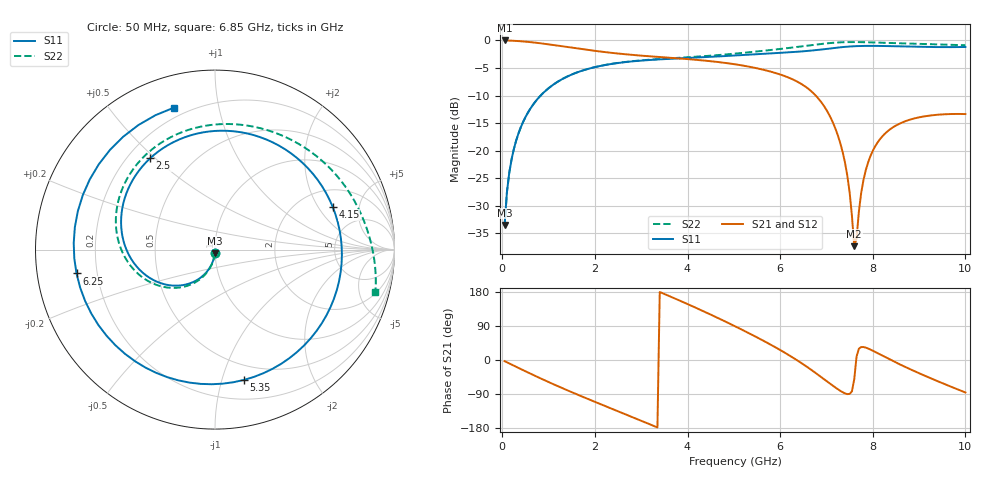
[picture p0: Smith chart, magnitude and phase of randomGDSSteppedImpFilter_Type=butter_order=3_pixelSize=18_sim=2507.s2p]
! freq	dB(S11)	phase(S11)	dB(S12)	phase(S12)
!  dB(S21)	phase(S21)	dB(S22)	phase(S22)
!S-par simulation data
#  GHz  S  DB  R 50
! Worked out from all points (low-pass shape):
!   200 points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, 50 MHz to 10 GHz, reference 50 ohm
!   highest |S21| = -0.01 dB at 50 MHz (marker M1); lowest = -37.3 dB at 7.6 GHz (marker M2)
!   |S21| within 3 dB of the highest: start of sweep to 3.39 GHz
!   lowest |S11| = -33.5 dB at 50 MHz (marker M3), VSWR 1.04, Z = 49.8 - j2.11 ohm
!   |S11| at or under -10 dB: start of sweep to 828.2 MHz
!   |S22| runs from -33.5 to -0.3 dB; largest |S21 - S12| = 0
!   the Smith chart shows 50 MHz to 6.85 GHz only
!   S11 on the Smith chart (normalised r, x): 50 MHz: 1.00, -0.04; 2.5 GHz: 0.29, +0.48; 4.15 GHz: 2.94, +2.72; 5.35 GHz: 0.36, -1.18; 6.25 GHz: 0.12, -0.08; 6.85 GHz: 0.15, +0.74
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0.05  -33.49 -93.1  -0.01 -3.0  -0.01 -3.0  -33.49 -92.9
0.2  -21.58 -102.8  -0.05 -12.1  -0.05 -12.1  -21.58 -102.0
0.5  -13.91 -121.3  -0.22 -29.8  -0.22 -29.8  -13.91 -119.4
1.1  -8.03 -156.6  -0.83 -63.7  -0.83 -63.7  -8.02 -152.0
1.75  -5.42 167.0  -1.61 -97.8  -1.61 -97.8  -5.41 176.1
2.5  -4.10 125.4  -2.38 -135.3  -2.38 -135.3  -4.07 142.8
3.4  -3.44 71.4  -3.01 179.4  -3.01 179.4  -3.37 106.5
4.15  -3.13 19.9  -3.49 139.4  -3.49 139.4  -2.97 78.5
5.05  -2.72 -51.3  -4.36 87.6  -4.36 87.6  -2.38 46.6
5.35  -2.57 -77.6  -4.80 69.2  -4.80 69.2  -2.13 36.2
5.8  -2.35 -120.5  -5.67 40.1  -5.67 40.1  -1.74 20.8
6.25  -2.13 -170.2  -6.99 8.2  -6.99 8.2  -1.31 5.6
6.7  -1.82 129.1  -9.43 -28.4  -9.43 -28.4  -0.83 -9.7
6.85  -1.69 106.1  -10.79 -41.8  -10.79 -41.8  -0.68 -14.9
7.1  -1.44 65.7  -14.18 -64.5  -14.18 -64.5  -0.46 -23.9
7.35  -1.21 25.0  -20.26 -85.1  -20.26 -85.1  -0.33 -33.0
7.5  -1.10 1.6  -27.55 -89.6  -27.55 -89.6  -0.30 -38.4
7.6  -1.06 -13.3  -37.32 -50.8  -37.32 -50.8  -0.30 -41.9
7.85  -0.99 -47.6  -23.49 32.6  -23.49 32.6  -0.33 -50.3
8.35  -1.03 -104.7  -16.27 2.5  -16.27 2.5  -0.47 -65.6
9.1  -1.18 -172.8  -13.79 -40.3  -13.79 -40.3  -0.66 -86.5
10  -1.19 117.5  -13.35 -85.7  -13.35 -85.7  -0.88 -111.1
